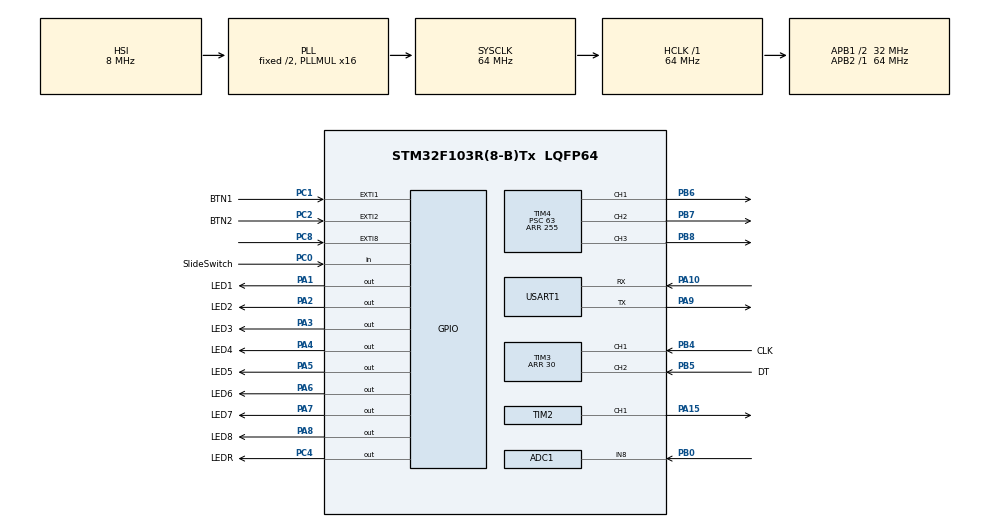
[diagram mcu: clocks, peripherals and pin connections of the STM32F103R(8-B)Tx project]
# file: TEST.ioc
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ADC1.Channel-2\#ChannelRegularConversion=ADC_CHANNEL_8
ADC1.ContinuousConvMode=ENABLE
ADC1.NbrOfConversionFlag=1
ADC1.Rank-2\#ChannelRegularConversion=1
ADC1.SamplingTime-2\#ChannelRegularConversion=ADC_SAMPLETIME_1CYCLE_5
ADC1.master=1
Mcu.Family=STM32F1
Mcu.Name=STM32F103R(8-B)Tx
Mcu.Package=LQFP64
NVIC.EXTI1_IRQn=true\:0\:0\:false\:false\:true\:true\:true\:true
NVIC.EXTI2_IRQn=true\:0\:0\:false\:false\:true\:true\:true\:true
NVIC.PriorityGroup=NVIC_PRIORITYGROUP_4
PA1.GPIO_Label=LED1
PA1.GPIO_ModeDefaultOutputPP=GPIO_MODE_OUTPUT_PP
PA1.GPIO_PuPd=GPIO_NOPULL
PA1.PinState=GPIO_PIN_SET
PA1.Signal=GPIO_Output
PA10.Mode=Asynchronous
PA10.Signal=USART1_RX
PA13.Mode=Trace_Asynchronous_SW
PA13.Signal=SYS_JTMS-SWDIO
PA14.Mode=Trace_Asynchronous_SW
PA14.Signal=SYS_JTCK-SWCLK
PA15.Signal=S_TIM2_CH1_ETR
PA2.GPIO_Label=LED2
PA2.PinState=GPIO_PIN_SET
PA2.Signal=GPIO_Output
PA3.GPIO_Label=LED3
PA3.PinState=GPIO_PIN_SET
PA3.Signal=GPIO_Output
PA4.GPIO_Label=LED4
PA4.PinState=GPIO_PIN_SET
PA4.Signal=GPIO_Output
PA5.GPIO_Label=LED5
PA5.PinState=GPIO_PIN_SET
PA5.Signal=GPIO_Output
PA6.GPIO_Label=LED6
PA6.PinState=GPIO_PIN_SET
PA6.Signal=GPIO_Output
PA7.GPIO_Label=LED7
PA7.PinState=GPIO_PIN_SET
PA7.Signal=GPIO_Output
PA8.GPIO_Label=LED8
PA8.PinState=GPIO_PIN_SET
PA8.Signal=GPIO_Output
PA9.Mode=Asynchronous
PA9.Signal=USART1_TX
PB0.Signal=ADCx_IN8
PB3.Mode=Trace_Asynchronous_SW
PB3.Signal=SYS_JTDO-TRACESWO
PB4.GPIO_Label=CLK
PB4.Signal=S_TIM3_CH1
PB5.GPIO_Label=DT
PB5.Signal=S_TIM3_CH2
PB6.Signal=S_TIM4_CH1
PB7.Signal=S_TIM4_CH2
PB8.Signal=S_TIM4_CH3
PC0.GPIO_Label=SlideSwitch
PC0.Signal=GPIO_Input
PC1.GPIO_Label=BTN1
PC1.GPIO_ModeDefaultEXTI=GPIO_MODE_IT_RISING
PC1.GPIO_PuPd=GPIO_PULLUP
PC1.Signal=GPXTI1
PC2.GPIO_Label=BTN2
PC2.GPIO_PuPd=GPIO_PULLUP
PC2.Signal=GPXTI2
PC4.GPIO_Label=LEDR
PC4.Signal=GPIO_Output
PC8.Signal=GPXTI8
ProjectManager.HeapSize=0x200
ProjectManager.StackSize=0x400
ProjectManager.TargetToolchain=STM32CubeIDE
RCC.ADCPresc=RCC_ADCPCLK2_DIV8
RCC.AHBFreq_Value=64000000
RCC.APB1CLKDivider=RCC_HCLK_DIV2
RCC.APB1Freq_Value=32000000
RCC.APB1TimFreq_Value=64000000
RCC.APB2Freq_Value=64000000
RCC.APB2TimFreq_Value=64000000
RCC.HCLKFreq_Value=64000000
RCC.PLLMUL=RCC_PLL_MUL16
RCC.SYSCLKFreq_VALUE=64000000
RCC.SYSCLKSource=RCC_SYSCLKSOURCE_PLLCLK
RCC.USBFreq_Value=64000000
SH.ADCx_IN8.0=ADC1_IN8,IN8
SH.S_TIM2_CH1_ETR.0=TIM2_CH1,PWM Generation1 CH1
SH.S_TIM3_CH1.0=TIM3_CH1,Encoder_Interface
SH.S_TIM3_CH2.0=TIM3_CH2,Encoder_Interface
SH.S_TIM4_CH1.0=TIM4_CH1,PWM Generation1 CH1
SH.S_TIM4_CH2.0=TIM4_CH2,PWM Generation2 CH2
SH.S_TIM4_CH3.0=TIM4_CH3,PWM Generation3 CH3
TIM2.Channel-PWM\ Generation1\ CH1=TIM_CHANNEL_1
TIM2.Period=249
TIM2.Prescaler=63
TIM3.Period=30
TIM4.Channel-PWM\ Generation1\ CH1=TIM_CHANNEL_1
TIM4.Channel-PWM\ Generation2\ CH2=TIM_CHANNEL_2
TIM4.Channel-PWM\ Generation3\ CH3=TIM_CHANNEL_3
TIM4.Period=255
TIM4.Prescaler=63
USART1.VirtualMode=VM_ASYNC
board=custom

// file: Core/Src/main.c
/* USER CODE BEGIN Header */
/**
  ******************************************************************************
  * @file           : main.c
  * @brief          : Main program body
  ******************************************************************************
  * @attention
  *
  * Copyright (c) 2025 STMicroelectronics.
  * All rights reserved.
  *
  * This software is licensed under terms that can be found in the LICENSE file
  * in the root directory of this software component.
  * If no LICENSE file comes with this software, it is provided AS-IS.
  *
  ******************************************************************************
  */
/* USER CODE END Header */
#include "main.h"

/* USER CODE BEGIN Includes */
#include <stdio.h>
#include <stdbool.h>
#include <stdlib.h>
/* USER CODE END Includes */

ADC_HandleTypeDef hadc1;

TIM_HandleTypeDef htim2;
TIM_HandleTypeDef htim3;
TIM_HandleTypeDef htim4;

UART_HandleTypeDef huart1;

void SystemClock_Config(void);
static void MX_GPIO_Init(void);
static void MX_USART1_UART_Init(void);
static void MX_TIM2_Init(void);
static void MX_TIM4_Init(void);
static void MX_TIM3_Init(void);
static void MX_ADC1_Init(void);

/* USER CODE BEGIN 0 */

uint8_t Ledstatus;
//----------------------------------------------------------------------
// Send printf to uart1
int _write(int fd, char* ptr, int len) {
  HAL_StatusTypeDef hstatus;

  if (fd == 1 || fd == 2) {
    hstatus = HAL_UART_Transmit(&huart1, (uint8_t *) ptr, len, HAL_MAX_DELAY);
    if (hstatus == HAL_OK)
      return len;
    else
      return -1;
  }
  return -1;
}
//----------------------------------------------------------------------
GPIO_TypeDef* ports[] = {LED1_GPIO_Port, LED2_GPIO_Port, LED3_GPIO_Port, LED4_GPIO_Port,
                           LED5_GPIO_Port, LED6_GPIO_Port, LED7_GPIO_Port, LED8_GPIO_Port};
uint16_t pins[] = {LED1_Pin, LED2_Pin, LED3_Pin, LED4_Pin,
                     LED5_Pin, LED6_Pin, LED7_Pin, LED8_Pin};
//----------------------------------------------------------------------
uint8_t Ledstatus;
void prinLedStatus()
{

  for (int i = 0; i < 8; i++)
  {
	if (Ledstatus & (1 << i))
	{
		HAL_GPIO_WritePin(ports[i], pins[i], GPIO_PIN_SET);
	}else
	{
		HAL_GPIO_WritePin(ports[i], pins[i], GPIO_PIN_RESET);
	}
  }

}
//-----------------------------------------------------------------------------
void HandleButtons(uint16_t GPIO_Pin)
{
    if (Ledstatus == 0)
    {
        Ledstatus = 1;
    }
    if (GPIO_Pin == BTN1_Pin)
    {
        Ledstatus <<= 1;
        if (Ledstatus == 0) Ledstatus = 1;
    }
    else if (GPIO_Pin == BTN2_Pin)
    {
        Ledstatus >>= 1;
        if (Ledstatus == 0) Ledstatus = 0x80;
    }
}

//--------------------------------------------------------------------------
void HAL_GPIO_EXTI_Callback(uint16_t PGIO_Pin)
{
	HandleButtons(PGIO_Pin);
}
//--------------------------------------------------------------------------

void handlSlideSwitch()
{
	GPIO_PinState btnState = HAL_GPIO_ReadPin(SlideSwitch_GPIO_Port, SlideSwitch_Pin);
	if (btnState == GPIO_PIN_SET)
	{
		HAL_GPIO_WritePin(LEDR_GPIO_Port,LEDR_Pin, GPIO_PIN_SET);
	}
	else
	{
		HAL_GPIO_WritePin(LEDR_GPIO_Port,LEDR_Pin, GPIO_PIN_RESET);
	}
}

//--------------------------------------------------------------------------
void RGB_SetColor(uint8_t r, uint8_t g, uint8_t b) {
    __HAL_TIM_SET_COMPARE(&htim4, TIM_CHANNEL_1, r); // Красный
    __HAL_TIM_SET_COMPARE(&htim4, TIM_CHANNEL_2, g); // Зелёный
    __HAL_TIM_SET_COMPARE(&htim4, TIM_CHANNEL_3, b); // Синий
}
//---------------------------------------------------------------------------

void Buzzer_SetDuty(uint16_t duty) {
    if (duty > htim2.Init.Period) duty = htim2.Init.Period;
    __HAL_TIM_SET_COMPARE(&htim2, TIM_CHANNEL_1, duty);
}

//--------------------------------------------------------------------------
void handlSlideToBuzzer()
{
	GPIO_PinState btnState = HAL_GPIO_ReadPin(SlideSwitch_GPIO_Port, SlideSwitch_Pin);
	if (btnState == GPIO_PIN_SET)
	{
		 HAL_TIM_PWM_Start(&htim2, TIM_CHANNEL_1);
		 Buzzer_SetDuty( (htim2.Init.Period + 1) / 2 );
	}
	else
	{
		HAL_TIM_PWM_Stop(&htim2, TIM_CHANNEL_1);
	}
}

//-------------------------------------------------------------------------
int32_t encoder_value = 0;
uint8_t active_leds = 0;
const uint8_t led_sequence[8] = {1, 3, 7, 15, 31, 63, 127, 255};
uint16_t adc_value = 0;
//-------------------------------------------------------------------------

void UpdateEncoder()
{
	static uint16_t last_cnt = 0;
	    uint16_t curr_cnt = TIM3->CNT;
	    int16_t diff = curr_cnt - last_cnt;

	    // Обработка переполнения с ARR = 30
	    if(diff > 15) {
	        diff -= 30;
	    }
	    else if(diff < -15) {
	        diff += 30;
	    }

	    encoder_value += diff;
	    last_cnt = curr_cnt;

	    // Изменяем индекс только при значительном изменении положения
	    static int8_t accumulated_diff = 0;
	    accumulated_diff += diff;

	    if(accumulated_diff >= 4) { // Порог срабатывания +
	        if(active_leds < 7) active_leds++;
	        accumulated_diff = 0;
	    }
	    else if(accumulated_diff <= -4) { // Порог срабатывания -
	        if(active_leds > 0) active_leds--;
	        accumulated_diff = 0;
	    }

}

//-------------------------------------------------------------------------

int HandlAdctoLed(float value)
{
	int index = (int)(value / 0.5f); // шаг 0.5 В
	if(index > 7) index = 7;
	return led_sequence[index];
}

/* USER CODE END 0 */

int main(void)
{

  /* MCU Configuration--------------------------------------------------------*/

  /* Reset of all peripherals, Initializes the Flash interface and the Systick. */
  HAL_Init();

  /* Configure the system clock */
  SystemClock_Config();

  /* Initialize all configured peripherals */
  MX_GPIO_Init();
  MX_USART1_UART_Init();
  MX_TIM2_Init();
  MX_TIM4_Init();
  MX_TIM3_Init();
  MX_ADC1_Init();
  /* USER CODE BEGIN 2 */
  HAL_TIM_Encoder_Start(&htim3, TIM_CHANNEL_ALL);

  HAL_TIM_PWM_Start(&htim4, TIM_CHANNEL_1);
  HAL_TIM_PWM_Start(&htim4, TIM_CHANNEL_2);
  HAL_TIM_PWM_Start(&htim4, TIM_CHANNEL_3);
  HAL_ADC_Start(&hadc1);
  /* USER CODE END 2 */

  /* Infinite loop */
  /* USER CODE BEGIN WHILE */

  Ledstatus = 0;
  while (1)
  {
	  UpdateEncoder();

	  // Управляем светодиодами в зависимости от положения энкодера
	  //Ledstatus = active_leds;
	  HAL_ADC_PollForConversion(&hadc1, HAL_MAX_DELAY);
	  adc_value = HAL_ADC_GetValue(&hadc1);
	  float voltage = (adc_value * 3.3f) / 4095.0f;
	  Ledstatus = HandlAdctoLed(voltage);
	  prinLedStatus();
	  handlSlideSwitch();

	  handlSlideToBuzzer();

	/*  RGB_SetColor(255, 0, 0);   // Красный
	  HAL_Delay(500);
	  RGB_SetColor(0, 255, 0);   // Зелёный
	  HAL_Delay(500);
	  RGB_SetColor(0, 0, 255);   // Синий
	  HAL_Delay(500);
	  RGB_SetColor(255, 255, 255); // Белый
	  HAL_Delay(500);
	  RGB_SetColor(128, 0, 255);
	  HAL_Delay(500);*/

    /* USER CODE END WHILE */

  }
}

void SystemClock_Config(void)
{
  RCC_OscInitTypeDef RCC_OscInitStruct = {0};
  RCC_ClkInitTypeDef RCC_ClkInitStruct = {0};
  RCC_PeriphCLKInitTypeDef PeriphClkInit = {0};

  /** Initializes the RCC Oscillators according to the specified parameters
  * in the RCC_OscInitTypeDef structure.
  */
  RCC_OscInitStruct.OscillatorType = RCC_OSCILLATORTYPE_HSI;
  RCC_OscInitStruct.HSIState = RCC_HSI_ON;
  RCC_OscInitStruct.HSICalibrationValue = RCC_HSICALIBRATION_DEFAULT;
  RCC_OscInitStruct.PLL.PLLState = RCC_PLL_ON;
  RCC_OscInitStruct.PLL.PLLSource = RCC_PLLSOURCE_HSI_DIV2;
  RCC_OscInitStruct.PLL.PLLMUL = RCC_PLL_MUL16;
  if (HAL_RCC_OscConfig(&RCC_OscInitStruct) != HAL_OK)
  {
    Error_Handler();
  }

  /** Initializes the CPU, AHB and APB buses clocks
  */
  RCC_ClkInitStruct.ClockType = RCC_CLOCKTYPE_HCLK|RCC_CLOCKTYPE_SYSCLK
                              |RCC_CLOCKTYPE_PCLK1|RCC_CLOCKTYPE_PCLK2;
  RCC_ClkInitStruct.SYSCLKSource = RCC_SYSCLKSOURCE_PLLCLK;
  RCC_ClkInitStruct.AHBCLKDivider = RCC_SYSCLK_DIV1;
  RCC_ClkInitStruct.APB1CLKDivider = RCC_HCLK_DIV2;
  RCC_ClkInitStruct.APB2CLKDivider = RCC_HCLK_DIV1;

  if (HAL_RCC_ClockConfig(&RCC_ClkInitStruct, FLASH_LATENCY_2) != HAL_OK)
  {
    Error_Handler();
  }
  PeriphClkInit.PeriphClockSelection = RCC_PERIPHCLK_ADC;
  PeriphClkInit.AdcClockSelection = RCC_ADCPCLK2_DIV8;
  if (HAL_RCCEx_PeriphCLKConfig(&PeriphClkInit) != HAL_OK)
  {
    Error_Handler();
  }
}

static void MX_ADC1_Init(void)
{

  ADC_ChannelConfTypeDef sConfig = {0};

  /** Common config
  */
  hadc1.Instance = ADC1;
  hadc1.Init.ScanConvMode = ADC_SCAN_DISABLE;
  hadc1.Init.ContinuousConvMode = ENABLE;
  hadc1.Init.DiscontinuousConvMode = DISABLE;
  hadc1.Init.ExternalTrigConv = ADC_SOFTWARE_START;
  hadc1.Init.DataAlign = ADC_DATAALIGN_RIGHT;
  hadc1.Init.NbrOfConversion = 1;
  if (HAL_ADC_Init(&hadc1) != HAL_OK)
  {
    Error_Handler();
  }

  /** Configure Regular Channel
  */
  sConfig.Channel = ADC_CHANNEL_8;
  sConfig.Rank = ADC_REGULAR_RANK_1;
  sConfig.SamplingTime = ADC_SAMPLETIME_1CYCLE_5;
  if (HAL_ADC_ConfigChannel(&hadc1, &sConfig) != HAL_OK)
  {
    Error_Handler();
  }

}

static void MX_TIM2_Init(void)
{

  TIM_MasterConfigTypeDef sMasterConfig = {0};
  TIM_OC_InitTypeDef sConfigOC = {0};

  htim2.Instance = TIM2;
  htim2.Init.Prescaler = 63;
  htim2.Init.CounterMode = TIM_COUNTERMODE_UP;
  htim2.Init.Period = 249;
  htim2.Init.ClockDivision = TIM_CLOCKDIVISION_DIV1;
  htim2.Init.AutoReloadPreload = TIM_AUTORELOAD_PRELOAD_DISABLE;
  if (HAL_TIM_PWM_Init(&htim2) != HAL_OK)
  {
    Error_Handler();
  }
  sMasterConfig.MasterOutputTrigger = TIM_TRGO_RESET;
  sMasterConfig.MasterSlaveMode = TIM_MASTERSLAVEMODE_DISABLE;
  if (HAL_TIMEx_MasterConfigSynchronization(&htim2, &sMasterConfig) != HAL_OK)
  {
    Error_Handler();
  }
  sConfigOC.OCMode = TIM_OCMODE_PWM1;
  sConfigOC.Pulse = 0;
  sConfigOC.OCPolarity = TIM_OCPOLARITY_HIGH;
  sConfigOC.OCFastMode = TIM_OCFAST_DISABLE;
  if (HAL_TIM_PWM_ConfigChannel(&htim2, &sConfigOC, TIM_CHANNEL_1) != HAL_OK)
  {
    Error_Handler();
  }
  HAL_TIM_MspPostInit(&htim2);

}

static void MX_TIM3_Init(void)
{

  TIM_Encoder_InitTypeDef sConfig = {0};
  TIM_MasterConfigTypeDef sMasterConfig = {0};

  htim3.Instance = TIM3;
  htim3.Init.Prescaler = 0;
  htim3.Init.CounterMode = TIM_COUNTERMODE_UP;
  htim3.Init.Period = 30;
  htim3.Init.ClockDivision = TIM_CLOCKDIVISION_DIV1;
  htim3.Init.AutoReloadPreload = TIM_AUTORELOAD_PRELOAD_DISABLE;
  sConfig.EncoderMode = TIM_ENCODERMODE_TI1;
  sConfig.IC1Polarity = TIM_ICPOLARITY_RISING;
  sConfig.IC1Selection = TIM_ICSELECTION_DIRECTTI;
  sConfig.IC1Prescaler = TIM_ICPSC_DIV1;
  sConfig.IC1Filter = 0;
  sConfig.IC2Polarity = TIM_ICPOLARITY_RISING;
  sConfig.IC2Selection = TIM_ICSELECTION_DIRECTTI;
  sConfig.IC2Prescaler = TIM_ICPSC_DIV1;
  sConfig.IC2Filter = 0;
  if (HAL_TIM_Encoder_Init(&htim3, &sConfig) != HAL_OK)
  {
    Error_Handler();
  }
  sMasterConfig.MasterOutputTrigger = TIM_TRGO_RESET;
  sMasterConfig.MasterSlaveMode = TIM_MASTERSLAVEMODE_DISABLE;
  if (HAL_TIMEx_MasterConfigSynchronization(&htim3, &sMasterConfig) != HAL_OK)
  {
    Error_Handler();
  }

}

static void MX_TIM4_Init(void)
{

  TIM_MasterConfigTypeDef sMasterConfig = {0};
  TIM_OC_InitTypeDef sConfigOC = {0};

  htim4.Instance = TIM4;
  htim4.Init.Prescaler = 63;
  htim4.Init.CounterMode = TIM_COUNTERMODE_UP;
  htim4.Init.Period = 255;
  htim4.Init.ClockDivision = TIM_CLOCKDIVISION_DIV1;
  htim4.Init.AutoReloadPreload = TIM_AUTORELOAD_PRELOAD_DISABLE;
  if (HAL_TIM_PWM_Init(&htim4) != HAL_OK)
  {
    Error_Handler();
  }
  sMasterConfig.MasterOutputTrigger = TIM_TRGO_RESET;
  sMasterConfig.MasterSlaveMode = TIM_MASTERSLAVEMODE_DISABLE;
  if (HAL_TIMEx_MasterConfigSynchronization(&htim4, &sMasterConfig) != HAL_OK)
  {
    Error_Handler();
  }
  sConfigOC.OCMode = TIM_OCMODE_PWM1;
  sConfigOC.Pulse = 0;
  sConfigOC.OCPolarity = TIM_OCPOLARITY_HIGH;
  sConfigOC.OCFastMode = TIM_OCFAST_DISABLE;
  if (HAL_TIM_PWM_ConfigChannel(&htim4, &sConfigOC, TIM_CHANNEL_1) != HAL_OK)
  {
    Error_Handler();
  }
  if (HAL_TIM_PWM_ConfigChannel(&htim4, &sConfigOC, TIM_CHANNEL_2) != HAL_OK)
  {
    Error_Handler();
  }
  if (HAL_TIM_PWM_ConfigChannel(&htim4, &sConfigOC, TIM_CHANNEL_3) != HAL_OK)
  {
    Error_Handler();
  }
  HAL_TIM_MspPostInit(&htim4);

}

static void MX_USART1_UART_Init(void)
{

  huart1.Instance = USART1;
  huart1.Init.BaudRate = 115200;
  huart1.Init.WordLength = UART_WORDLENGTH_8B;
  huart1.Init.StopBits = UART_STOPBITS_1;
  huart1.Init.Parity = UART_PARITY_NONE;
  huart1.Init.Mode = UART_MODE_TX_RX;
  huart1.Init.HwFlowCtl = UART_HWCONTROL_NONE;
  huart1.Init.OverSampling = UART_OVERSAMPLING_16;
  if (HAL_UART_Init(&huart1) != HAL_OK)
  {
    Error_Handler();
  }

}

static void MX_GPIO_Init(void)
{
  GPIO_InitTypeDef GPIO_InitStruct = {0};

  /* GPIO Ports Clock Enable */
  __HAL_RCC_GPIOC_CLK_ENABLE();
  __HAL_RCC_GPIOA_CLK_ENABLE();
  __HAL_RCC_GPIOB_CLK_ENABLE();

  /*Configure GPIO pin Output Level */
  HAL_GPIO_WritePin(GPIOA, LED1_Pin|LED2_Pin|LED3_Pin|LED4_Pin
                          |LED5_Pin|LED6_Pin|LED7_Pin|LED8_Pin, GPIO_PIN_SET);

  /*Configure GPIO pin Output Level */
  HAL_GPIO_WritePin(LEDR_GPIO_Port, LEDR_Pin, GPIO_PIN_RESET);

  /*Configure GPIO pin : SlideSwitch_Pin */
  GPIO_InitStruct.Pin = SlideSwitch_Pin;
  GPIO_InitStruct.Mode = GPIO_MODE_INPUT;
  GPIO_InitStruct.Pull = GPIO_NOPULL;
  HAL_GPIO_Init(SlideSwitch_GPIO_Port, &GPIO_InitStruct);

  /*Configure GPIO pins : BTN1_Pin BTN2_Pin */
  GPIO_InitStruct.Pin = BTN1_Pin|BTN2_Pin;
  GPIO_InitStruct.Mode = GPIO_MODE_IT_RISING;
  GPIO_InitStruct.Pull = GPIO_PULLUP;
  HAL_GPIO_Init(GPIOC, &GPIO_InitStruct);

  /*Configure GPIO pins : LED1_Pin LED2_Pin LED3_Pin LED4_Pin
                           LED5_Pin LED6_Pin LED7_Pin LED8_Pin */
  GPIO_InitStruct.Pin = LED1_Pin|LED2_Pin|LED3_Pin|LED4_Pin
                          |LED5_Pin|LED6_Pin|LED7_Pin|LED8_Pin;
  GPIO_InitStruct.Mode = GPIO_MODE_OUTPUT_PP;
  GPIO_InitStruct.Pull = GPIO_NOPULL;
  GPIO_InitStruct.Speed = GPIO_SPEED_FREQ_LOW;
  HAL_GPIO_Init(GPIOA, &GPIO_InitStruct);

  /*Configure GPIO pin : LEDR_Pin */
  GPIO_InitStruct.Pin = LEDR_Pin;
  GPIO_InitStruct.Mode = GPIO_MODE_OUTPUT_PP;
  GPIO_InitStruct.Pull = GPIO_NOPULL;
  GPIO_InitStruct.Speed = GPIO_SPEED_FREQ_LOW;
  HAL_GPIO_Init(LEDR_GPIO_Port, &GPIO_InitStruct);

  /*Configure GPIO pin : PC8 */
  GPIO_InitStruct.Pin = GPIO_PIN_8;
  GPIO_InitStruct.Mode = GPIO_MODE_IT_RISING;
  GPIO_InitStruct.Pull = GPIO_NOPULL;
  HAL_GPIO_Init(GPIOC, &GPIO_InitStruct);

  /* EXTI interrupt init*/
  HAL_NVIC_SetPriority(EXTI1_IRQn, 0, 0);
  HAL_NVIC_EnableIRQ(EXTI1_IRQn);

  HAL_NVIC_SetPriority(EXTI2_IRQn, 0, 0);
  HAL_NVIC_EnableIRQ(EXTI2_IRQn);

}

void Error_Handler(void)
{
  __disable_irq();
  while (1)
  {
  }
}
